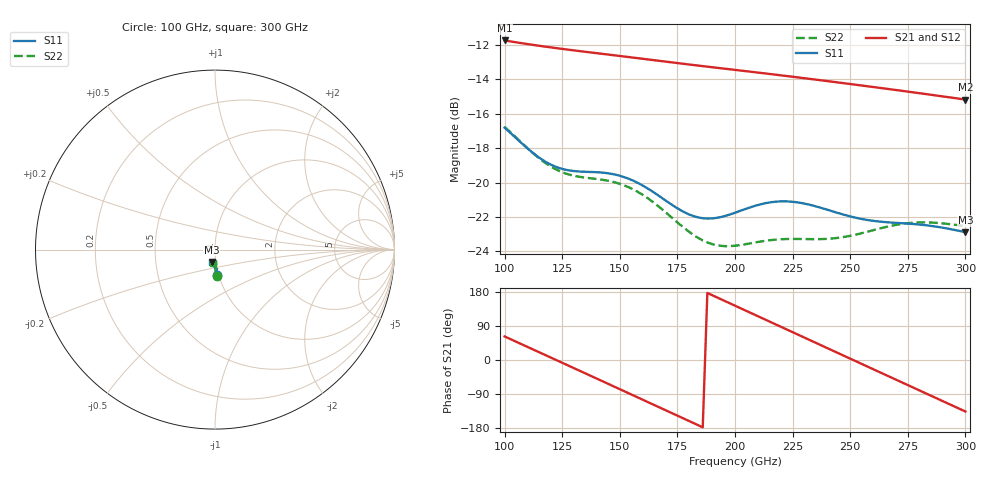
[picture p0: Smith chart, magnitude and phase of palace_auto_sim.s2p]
#  GHZ S DB R 50
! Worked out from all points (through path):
!   101 points, 100 GHz to 300 GHz, reference 50 ohm
!   highest |S21| = -11.73 dB at 100 GHz (marker M1); lowest = -15.2 dB at 300 GHz (marker M2)
!   group delay of S21, straight-line fit = 7.76 ps
!   lowest |S11| = -22.9 dB at 300 GHz (marker M3), VSWR 1.15, Z = 47.8 - j6.67 ohm
!   |S11| at or under -10 dB: start of sweep to end of sweep
!   |S22| runs from -23.7 to -16.8 dB; largest |S21 - S12| = 4.3e-15
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100  -16.81 -84.7  -11.73 62.1  -11.73 62.1  -16.75 -86.2
110  -18.02 -86.6  -11.94 34.4  -11.94 34.4  -18.01 -88.9
118  -18.81 -85.8  -12.09 12.1  -12.09 12.1  -18.89 -88.7
126  -19.24 -84.2  -12.24 -10.1  -12.24 -10.1  -19.45 -87.5
134  -19.37 -83.7  -12.37 -32.4  -12.37 -32.4  -19.70 -87.0
144  -19.44 -85.7  -12.53 -60.3  -12.53 -60.3  -19.87 -88.9
152  -19.69 -88.6  -12.66 -82.6  -12.66 -82.6  -20.17 -91.9
160  -20.18 -91.5  -12.80 -105.0  -12.80 -105.0  -20.72 -95.1
168  -20.87 -93.0  -12.93 -127.3  -12.93 -127.3  -21.52 -97.3
176  -21.58 -92.2  -13.06 -149.7  -13.06 -149.7  -22.43 -97.4
184  -22.03 -89.5  -13.19 -172.0  -13.19 -172.0  -23.22 -94.9
192  -22.06 -86.4  -13.32 165.7  -13.32 165.7  -23.65 -91.0
200  -21.76 -84.9  -13.44 143.4  -13.44 143.4  -23.68 -87.5
208  -21.38 -85.7  -13.57 121.0  -13.57 121.0  -23.51 -85.8
216  -21.14 -88.2  -13.70 98.6  -13.70 98.6  -23.34 -85.5
224  -21.11 -91.5  -13.83 76.3  -13.83 76.3  -23.28 -85.8
234  -21.35 -95.2  -13.99 48.3  -13.99 48.3  -23.30 -86.0
250  -21.97 -98.3  -14.26 3.6  -14.26 3.6  -23.10 -85.3
258  -22.19 -98.8  -14.40 -18.7  -14.40 -18.7  -22.84 -85.7
268  -22.33 -99.4  -14.58 -46.7  -14.58 -46.7  -22.51 -87.7
284  -22.50 -101.8  -14.87 -91.3  -14.87 -91.3  -22.32 -92.8
300  -22.89 -104.4  -15.17 -135.9  -15.17 -135.9  -22.53 -97.1
